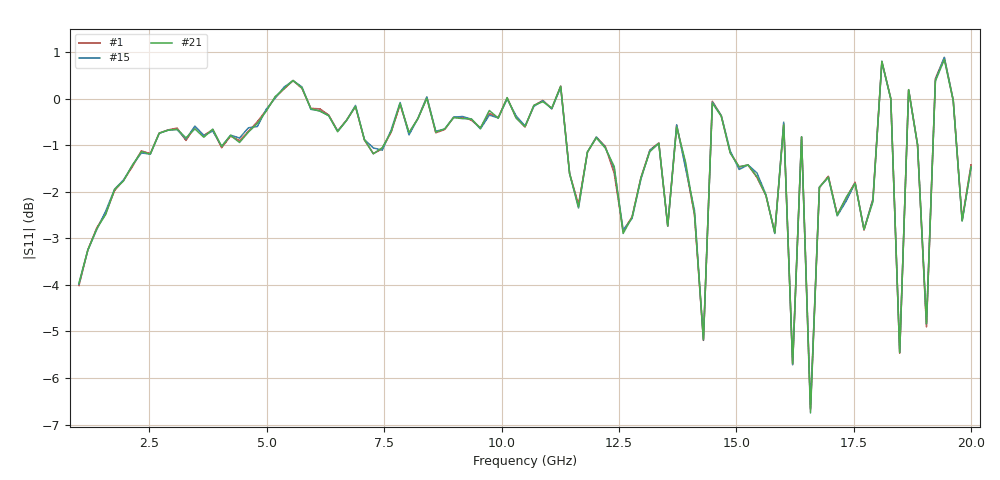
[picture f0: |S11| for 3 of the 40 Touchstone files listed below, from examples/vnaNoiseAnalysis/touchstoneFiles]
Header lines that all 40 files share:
# GHz S RI R 50
!freq	ReS11	ImS11
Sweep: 1 GHz to 20 GHz
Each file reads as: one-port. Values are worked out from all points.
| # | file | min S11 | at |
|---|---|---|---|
| 1 | 2010-12-01 15-51-44.321000.s1p | -6.7 dB | 16.58 GHz |
| 2 | 2010-12-01 15-51-45.973000.s1p | -6.7 dB | 16.58 GHz |
| 3 | 2010-12-01 15-51-47.576000.s1p | -6.7 dB | 16.58 GHz |
| 4 | 2010-12-01 15-51-49.198000.s1p | -6.7 dB | 16.58 GHz |
| 5 | 2010-12-01 15-51-50.840000.s1p | -6.7 dB | 16.58 GHz |
| 6 | 2010-12-01 15-51-52.493000.s1p | -6.7 dB | 16.58 GHz |
| 7 | 2010-12-01 15-51-54.125000.s1p | -6.7 dB | 16.58 GHz |
| 8 | 2010-12-01 15-51-55.757000.s1p | -6.7 dB | 16.58 GHz |
| 9 | 2010-12-01 15-51-57.390000.s1p | -6.7 dB | 16.58 GHz |
| 10 | 2010-12-01 15-51-59.032000.s1p | -6.7 dB | 16.58 GHz |
| 11 | 2010-12-01 15-52-00.634000.s1p | -6.7 dB | 16.58 GHz |
| 12 | 2010-12-01 15-52-02.277000.s1p | -6.7 dB | 16.58 GHz |
| 13 | 2010-12-01 15-52-03.899000.s1p | -6.7 dB | 16.58 GHz |
| 14 | 2010-12-01 15-52-05.531000.s1p | -6.7 dB | 16.58 GHz |
| 15 | 2010-12-01 15-52-07.144000.s1p | -6.6 dB | 16.58 GHz |
| 16 | 2010-12-01 15-52-08.756000.s1p | -6.7 dB | 16.58 GHz |
| 17 | 2010-12-01 15-52-10.388000.s1p | -6.7 dB | 16.58 GHz |
| 18 | 2010-12-01 15-52-12.051000.s1p | -6.7 dB | 16.58 GHz |
| 19 | 2010-12-01 15-52-13.683000.s1p | -6.7 dB | 16.58 GHz |
| 20 | 2010-12-01 15-52-15.306000.s1p | -6.7 dB | 16.58 GHz |
| 21 | 2010-12-01 15-52-16.948000.s1p | -6.8 dB | 16.58 GHz |
| 22 | 2010-12-01 15-52-18.600000.s1p | -6.7 dB | 16.58 GHz |
| 23 | 2010-12-01 15-52-20.193000.s1p | -6.7 dB | 16.58 GHz |
| 24 | 2010-12-01 15-52-21.835000.s1p | -6.8 dB | 16.58 GHz |
| 25 | 2010-12-01 15-52-23.467000.s1p | -6.7 dB | 16.58 GHz |
| 26 | 2010-12-01 15-52-25.120000.s1p | -6.6 dB | 16.58 GHz |
| 27 | 2010-12-01 15-52-26.722000.s1p | -6.7 dB | 16.58 GHz |
| 28 | 2010-12-01 15-52-28.324000.s1p | -6.7 dB | 16.58 GHz |
| 29 | 2010-12-01 15-52-29.947000.s1p | -6.7 dB | 16.58 GHz |
| 30 | 2010-12-01 15-52-31.569000.s1p | -6.8 dB | 16.58 GHz |
| 31 | 2010-12-01 15-52-33.221000.s1p | -6.7 dB | 16.58 GHz |
| 32 | 2010-12-01 15-52-34.854000.s1p | -6.7 dB | 16.58 GHz |
| 33 | 2010-12-01 15-52-36.476000.s1p | -6.7 dB | 16.58 GHz |
| 34 | 2010-12-01 15-52-38.088000.s1p | -6.7 dB | 16.58 GHz |
| 35 | 2010-12-01 15-52-39.711000.s1p | -6.7 dB | 16.58 GHz |
| 36 | 2010-12-01 15-52-41.313000.s1p | -6.7 dB | 16.58 GHz |
| 37 | 2010-12-01 15-52-42.965000.s1p | -6.7 dB | 16.58 GHz |
| 38 | 2010-12-01 15-52-44.578000.s1p | -6.7 dB | 16.58 GHz |
| 39 | 2010-12-01 15-52-46.200000.s1p | -6.7 dB | 16.58 GHz |
| 40 | 2010-12-01 15-52-47.812000.s1p | -6.7 dB | 16.58 GHz |
